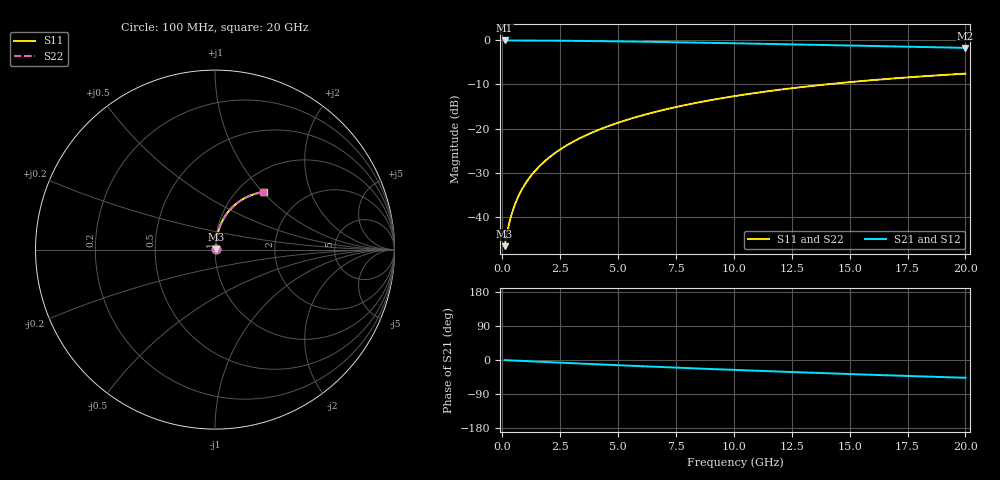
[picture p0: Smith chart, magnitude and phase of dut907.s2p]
! Touchstone file exported from HFSS 2024.1.0
!  File:  C:/UserFiles/LocalFiles/RDL_TSV_Batchsim/temp_RDL_top_907_1779935791.aedt
!  Generated:  10:39:43 AM May 28, 2026
!  Design:  RDL_top
!  Project:  temp_RDL_top_907_1779935791
!  Setup:  Setup1
!  Solution:  Sweep
! Variables:
!  dtsv = 10.80580581um
!  hbump = 3um
!  htsv = 67.05um
!  ldown = 100um
!  lrdl = 685.73um
!  p = 40
!  p1 = 45.05um
!  rhole = 1um
!  t = 450um
!  tdown = 3.915915916um
!  trdl = 3.53um
!  wdown = 15.38538539um
!  wrdl = 18.28um
# GHz S MA R 50.000000
! Terminal data exported
! Port[1] = Box2_T1
! Port[2] = Box2_T2
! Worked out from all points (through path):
!   200 points, 100 MHz to 20 GHz, reference 50 ohm
!   highest |S21| = -0.03 dB at 100 MHz (marker M1); lowest = -1.7 dB at 20 GHz (marker M2)
!   group delay of S21, straight-line fit = 6.49 ps
!   lowest |S11| = -46.7 dB at 100 MHz (marker M3), VSWR 1.01, Z = 50.4 + j0.254 ohm
!   |S11| at or under -10 dB: start of sweep to 13.98 GHz
!   |S22| runs from -46.7 to -7.5 dB; largest |S21 - S12| = 2.7e-15
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0.1  0.004646 32.8  0.9961 -0.3  0.9961 -0.3  0.004646 32.8
! Gamma 0 0 0 0
! Port Impedance 50 0 50 0
0.2  0.006417 50.7  0.9959 -0.6  0.9959 -0.6  0.006416 50.7
0.3  0.008483 59.9  0.9957 -0.9  0.9957 -0.9  0.008482 59.9
0.4  0.01062 65.3  0.9955 -1.2  0.9955 -1.2  0.01062 65.3
0.5  0.01279 68.8  0.9953 -1.4  0.9953 -1.4  0.01279 68.8
0.6  0.01497 71.4  0.9951 -1.7  0.9951 -1.7  0.01497 71.4
0.8  0.01936 74.8  0.9947 -2.3  0.9947 -2.3  0.01936 74.8
1.1  0.02604 77.7  0.994 -3.1  0.994 -3.1  0.02604 77.8
1.3  0.03054 78.9  0.9935 -3.7  0.9935 -3.7  0.03054 78.9
1.6  0.03734 80.0  0.9926 -4.5  0.9926 -4.5  0.03734 80.1
2.1  0.04877 80.9  0.9908 -5.9  0.9908 -5.9  0.04877 81.0
2.7  0.0626 81.2  0.9881 -7.6  0.9881 -7.6  0.0626 81.2
3.5  0.0812 80.8  0.9837 -9.8  0.9837 -9.8  0.0812 80.8
4.2  0.09759 80.1  0.9791 -11.7  0.9791 -11.7  0.0976 80.2
5  0.1164 79.1  0.9731 -13.8  0.9731 -13.8  0.1164 79.1
5.9  0.1377 77.7  0.9657 -16.1  0.9657 -16.1  0.1377 77.7
6.8  0.1589 76.1  0.9576 -18.4  0.9576 -18.4  0.1589 76.2
8.4  0.1962 73.1  0.9423 -22.3  0.9423 -22.3  0.1962 73.1
10.1  0.2348 69.6  0.925 -26.3  0.925 -26.3  0.2349 69.7
13.4  0.3047 62.8  0.8901 -33.7  0.8901 -33.7  0.3048 62.8
16.7  0.3663 56.1  0.855 -40.6  0.855 -40.6  0.3666 56.2
20  0.419 49.8  0.821 -46.9  0.821 -46.9  0.4193 49.9
